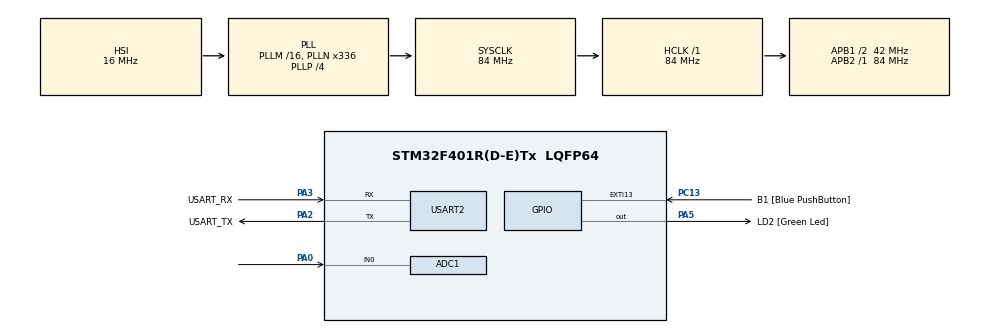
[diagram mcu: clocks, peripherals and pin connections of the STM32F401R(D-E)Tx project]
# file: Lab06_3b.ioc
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ADC1.Channel-0\#ChannelRegularConversion=ADC_CHANNEL_0
ADC1.DMAContinuousRequests=ENABLE
ADC1.ExternalTrigConv=ADC_EXTERNALTRIGCONV_T2_TRGO
ADC1.NbrOfConversionFlag=1
ADC1.Rank-0\#ChannelRegularConversion=1
ADC1.SamplingTime-0\#ChannelRegularConversion=ADC_SAMPLETIME_480CYCLES
ADC1.master=1
Dma.ADC1.1.Direction=DMA_PERIPH_TO_MEMORY
Dma.ADC1.1.FIFOMode=DMA_FIFOMODE_DISABLE
Dma.ADC1.1.Instance=DMA2_Stream0
Dma.ADC1.1.MemDataAlignment=DMA_MDATAALIGN_HALFWORD
Dma.ADC1.1.MemInc=DMA_MINC_ENABLE
Dma.ADC1.1.Mode=DMA_CIRCULAR
Dma.ADC1.1.PeriphDataAlignment=DMA_PDATAALIGN_HALFWORD
Dma.ADC1.1.PeriphInc=DMA_PINC_DISABLE
Dma.ADC1.1.Priority=DMA_PRIORITY_HIGH
Dma.Request0=USART2_TX
Dma.Request1=ADC1
Dma.USART2_TX.0.Direction=DMA_MEMORY_TO_PERIPH
Dma.USART2_TX.0.FIFOMode=DMA_FIFOMODE_DISABLE
Dma.USART2_TX.0.Instance=DMA1_Stream6
Dma.USART2_TX.0.MemDataAlignment=DMA_MDATAALIGN_BYTE
Dma.USART2_TX.0.MemInc=DMA_MINC_ENABLE
Dma.USART2_TX.0.Mode=DMA_NORMAL
Dma.USART2_TX.0.PeriphDataAlignment=DMA_PDATAALIGN_BYTE
Dma.USART2_TX.0.PeriphInc=DMA_PINC_DISABLE
Dma.USART2_TX.0.Priority=DMA_PRIORITY_HIGH
Mcu.Family=STM32F4
Mcu.Name=STM32F401R(D-E)Tx
Mcu.Package=LQFP64
NVIC.DMA1_Stream6_IRQn=true\:0\:0\:false\:false\:true\:false\:true\:true
NVIC.DMA2_Stream0_IRQn=true\:0\:0\:false\:false\:true\:false\:true\:true
NVIC.PriorityGroup=NVIC_PRIORITYGROUP_4
NVIC.USART2_IRQn=true\:0\:0\:false\:false\:true\:true\:true\:true
PA0-WKUP.Signal=ADCx_IN0
PA13.GPIO_Label=TMS
PA13.Mode=Trace_Asynchronous_SW
PA13.Signal=SYS_JTMS-SWDIO
PA14.GPIO_Label=TCK
PA14.Mode=Trace_Asynchronous_SW
PA14.Signal=SYS_JTCK-SWCLK
PA2.GPIO_Label=USART_TX
PA2.GPIO_Mode=GPIO_MODE_AF_PP
PA2.GPIO_PuPd=GPIO_NOPULL
PA2.GPIO_Speed=GPIO_SPEED_FREQ_LOW
PA2.Mode=Asynchronous
PA2.Signal=USART2_TX
PA3.GPIO_Label=USART_RX
PA3.GPIO_Mode=GPIO_MODE_AF_PP
PA3.GPIO_PuPd=GPIO_NOPULL
PA3.GPIO_Speed=GPIO_SPEED_FREQ_LOW
PA3.Mode=Asynchronous
PA3.Signal=USART2_RX
PA5.GPIO_Label=LD2 [Green Led]
PA5.GPIO_Mode=GPIO_MODE_OUTPUT_PP
PA5.GPIO_PuPd=GPIO_NOPULL
PA5.GPIO_Speed=GPIO_SPEED_FREQ_LOW
PA5.Signal=GPIO_Output
PB3.GPIO_Label=SWO
PB3.Mode=Trace_Asynchronous_SW
PB3.Signal=SYS_JTDO-SWO
PC13-ANTI_TAMP.GPIO_Label=B1 [Blue PushButton]
PC13-ANTI_TAMP.GPIO_ModeDefaultEXTI=GPIO_MODE_IT_FALLING
PC13-ANTI_TAMP.GPIO_PuPd=GPIO_NOPULL
PC13-ANTI_TAMP.Signal=GPXTI13
PC14-OSC32_IN.Mode=LSE-External-Oscillator
PC14-OSC32_IN.Signal=RCC_OSC32_IN
PC15-OSC32_OUT.Mode=LSE-External-Oscillator
PC15-OSC32_OUT.Signal=RCC_OSC32_OUT
PH0\ -\ OSC_IN.Mode=HSE-External-Clock-Source
PH0\ -\ OSC_IN.Signal=RCC_OSC_IN
PH1\ -\ OSC_OUT.Mode=HSE-External-Clock-Source
PH1\ -\ OSC_OUT.Signal=RCC_OSC_OUT
ProjectManager.HeapSize=0x200
ProjectManager.StackSize=0x400
ProjectManager.TargetToolchain=STM32CubeIDE
RCC.48MHZClocksFreq_Value=48000000
RCC.AHBFreq_Value=84000000
RCC.APB1CLKDivider=RCC_HCLK_DIV2
RCC.APB1Freq_Value=42000000
RCC.APB1TimFreq_Value=84000000
RCC.APB2Freq_Value=84000000
RCC.APB2TimFreq_Value=84000000
RCC.CortexFreq_Value=84000000
RCC.HCLKFreq_Value=84000000
RCC.HSE_VALUE=8000000
RCC.HSI_VALUE=16000000
RCC.PLLN=336
RCC.PLLP=RCC_PLLP_DIV4
RCC.PLLQ=7
RCC.SYSCLKFreq_VALUE=84000000
RCC.SYSCLKSource=RCC_SYSCLKSOURCE_PLLCLK
RCC.VCOOutputFreq_Value=336000000
SH.ADCx_IN0.0=ADC1_IN0,IN0
TIM2.Period=839999
TIM2.Prescaler=99
TIM2.TIM_MasterOutputTrigger=TIM_TRGO_UPDATE
USART2.VirtualMode=VM_ASYNC
VP_TIM2_VS_ClockSourceINT.Mode=Internal
board=NUCLEO-F401RE

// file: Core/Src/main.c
/* USER CODE BEGIN Header */
/**
  ******************************************************************************
  * @file           : main.c
  * @brief          : Main program body
  ******************************************************************************
  * @attention
  *
  * Copyright (c) 2026 STMicroelectronics.
  * All rights reserved.
  *
  * This software is licensed under terms that can be found in the LICENSE file
  * in the root directory of this software component.
  * If no LICENSE file comes with this software, it is provided AS-IS.
  *
  ******************************************************************************
  */
/* USER CODE END Header */
#include "main.h"

/* USER CODE BEGIN Includes */
#include "stdio.h"
#include "string.h"
#include <math.h>

/* USER CODE END Includes */

ADC_HandleTypeDef hadc1;
DMA_HandleTypeDef hdma_adc1;

TIM_HandleTypeDef htim2;

UART_HandleTypeDef huart2;
DMA_HandleTypeDef hdma_usart2_tx;

/* USER CODE BEGIN PV */
uint16_t adc_buf[2];   // buffer circolare: [0] pronto a meta' trasferimento, [1] a trasferimento completo
float v_adc = 0.0f;
float ldr = 0.0f;
float lux = 0.0f;
uint8_t tx_buf[64];
int len;

/* USER CODE END PV */

void SystemClock_Config(void);
static void MX_GPIO_Init(void);
static void MX_DMA_Init(void);
static void MX_USART2_UART_Init(void);
static void MX_ADC1_Init(void);
static void MX_TIM2_Init(void);

/* USER CODE BEGIN 0 */

static void process_and_send(uint16_t raw)
{
    v_adc = ((float)raw * 3.3f) / 4095.0f;
    ldr = (v_adc * 100) / (3.3f - v_adc);       // [kOhm]
    lux = 10 * pow(100 / ldr, 1.25f);            // [lux]

    len = sprintf((char*)tx_buf, "Vadc: %.2fV  LDR: %.1fkOhm  Lux: %.2flux\r\n", v_adc, ldr, lux);
    HAL_UART_Transmit_DMA(&huart2, tx_buf, len);
}

void HAL_ADC_ConvHalfCpltCallback(ADC_HandleTypeDef *hadc)
{
    process_and_send(adc_buf[0]);
}

void HAL_ADC_ConvCpltCallback(ADC_HandleTypeDef *hadc)
{
    process_and_send(adc_buf[1]);
}

/* USER CODE END 0 */

int main(void)
{

  /* MCU Configuration--------------------------------------------------------*/

  /* Reset of all peripherals, Initializes the Flash interface and the Systick. */
  HAL_Init();

  /* Configure the system clock */
  SystemClock_Config();

  /* Initialize all configured peripherals */
  MX_GPIO_Init();
  MX_DMA_Init();
  MX_USART2_UART_Init();
  MX_ADC1_Init();
  MX_TIM2_Init();
  /* USER CODE BEGIN 2 */
  HAL_TIM_Base_Start(&htim2); // Timer 2 (Trigger ADC)
  HAL_ADC_Start_DMA(&hadc1, (uint32_t*)adc_buf, 2);   // buffer da 2 elementi, niente & (l'array decade gia' da solo)

  /* USER CODE END 2 */

  /* Infinite loop */
  while (1)
  {

  }
}

void SystemClock_Config(void)
{
  RCC_OscInitTypeDef RCC_OscInitStruct = {0};
  RCC_ClkInitTypeDef RCC_ClkInitStruct = {0};

  /** Configure the main internal regulator output voltage
  */
  __HAL_RCC_PWR_CLK_ENABLE();
  __HAL_PWR_VOLTAGESCALING_CONFIG(PWR_REGULATOR_VOLTAGE_SCALE2);

  /** Initializes the RCC Oscillators according to the specified parameters
  * in the RCC_OscInitTypeDef structure.
  */
  RCC_OscInitStruct.OscillatorType = RCC_OSCILLATORTYPE_HSI;
  RCC_OscInitStruct.HSIState = RCC_HSI_ON;
  RCC_OscInitStruct.HSICalibrationValue = RCC_HSICALIBRATION_DEFAULT;
  RCC_OscInitStruct.PLL.PLLState = RCC_PLL_ON;
  RCC_OscInitStruct.PLL.PLLSource = RCC_PLLSOURCE_HSI;
  RCC_OscInitStruct.PLL.PLLM = 16;
  RCC_OscInitStruct.PLL.PLLN = 336;
  RCC_OscInitStruct.PLL.PLLP = RCC_PLLP_DIV4;
  RCC_OscInitStruct.PLL.PLLQ = 7;
  if (HAL_RCC_OscConfig(&RCC_OscInitStruct) != HAL_OK)
  {
    Error_Handler();
  }

  /** Initializes the CPU, AHB and APB buses clocks
  */
  RCC_ClkInitStruct.ClockType = RCC_CLOCKTYPE_HCLK|RCC_CLOCKTYPE_SYSCLK
                              |RCC_CLOCKTYPE_PCLK1|RCC_CLOCKTYPE_PCLK2;
  RCC_ClkInitStruct.SYSCLKSource = RCC_SYSCLKSOURCE_PLLCLK;
  RCC_ClkInitStruct.AHBCLKDivider = RCC_SYSCLK_DIV1;
  RCC_ClkInitStruct.APB1CLKDivider = RCC_HCLK_DIV2;
  RCC_ClkInitStruct.APB2CLKDivider = RCC_HCLK_DIV1;

  if (HAL_RCC_ClockConfig(&RCC_ClkInitStruct, FLASH_LATENCY_2) != HAL_OK)
  {
    Error_Handler();
  }
}

static void MX_ADC1_Init(void)
{

  ADC_ChannelConfTypeDef sConfig = {0};

  /** Configure the global features of the ADC (Clock, Resolution, Data Alignment and number of conversion)
  */
  hadc1.Instance = ADC1;
  hadc1.Init.ClockPrescaler = ADC_CLOCK_SYNC_PCLK_DIV4;
  hadc1.Init.Resolution = ADC_RESOLUTION_12B;
  hadc1.Init.ScanConvMode = DISABLE;
  hadc1.Init.ContinuousConvMode = DISABLE;
  hadc1.Init.DiscontinuousConvMode = DISABLE;
  hadc1.Init.ExternalTrigConvEdge = ADC_EXTERNALTRIGCONVEDGE_RISING;
  hadc1.Init.ExternalTrigConv = ADC_EXTERNALTRIGCONV_T2_TRGO;
  hadc1.Init.DataAlign = ADC_DATAALIGN_RIGHT;
  hadc1.Init.NbrOfConversion = 1;
  hadc1.Init.DMAContinuousRequests = ENABLE;
  hadc1.Init.EOCSelection = ADC_EOC_SINGLE_CONV;
  if (HAL_ADC_Init(&hadc1) != HAL_OK)
  {
    Error_Handler();
  }

  /** Configure for the selected ADC regular channel its corresponding rank in the sequencer and its sample time.
  */
  sConfig.Channel = ADC_CHANNEL_0;
  sConfig.Rank = 1;
  sConfig.SamplingTime = ADC_SAMPLETIME_480CYCLES;
  if (HAL_ADC_ConfigChannel(&hadc1, &sConfig) != HAL_OK)
  {
    Error_Handler();
  }

}

static void MX_TIM2_Init(void)
{

  TIM_ClockConfigTypeDef sClockSourceConfig = {0};
  TIM_MasterConfigTypeDef sMasterConfig = {0};

  htim2.Instance = TIM2;
  htim2.Init.Prescaler = 99;
  htim2.Init.CounterMode = TIM_COUNTERMODE_UP;
  htim2.Init.Period = 839999;
  htim2.Init.ClockDivision = TIM_CLOCKDIVISION_DIV1;
  htim2.Init.AutoReloadPreload = TIM_AUTORELOAD_PRELOAD_DISABLE;
  if (HAL_TIM_Base_Init(&htim2) != HAL_OK)
  {
    Error_Handler();
  }
  sClockSourceConfig.ClockSource = TIM_CLOCKSOURCE_INTERNAL;
  if (HAL_TIM_ConfigClockSource(&htim2, &sClockSourceConfig) != HAL_OK)
  {
    Error_Handler();
  }
  sMasterConfig.MasterOutputTrigger = TIM_TRGO_UPDATE;
  sMasterConfig.MasterSlaveMode = TIM_MASTERSLAVEMODE_DISABLE;
  if (HAL_TIMEx_MasterConfigSynchronization(&htim2, &sMasterConfig) != HAL_OK)
  {
    Error_Handler();
  }

}

static void MX_USART2_UART_Init(void)
{

  huart2.Instance = USART2;
  huart2.Init.BaudRate = 115200;
  huart2.Init.WordLength = UART_WORDLENGTH_8B;
  huart2.Init.StopBits = UART_STOPBITS_1;
  huart2.Init.Parity = UART_PARITY_NONE;
  huart2.Init.Mode = UART_MODE_TX_RX;
  huart2.Init.HwFlowCtl = UART_HWCONTROL_NONE;
  huart2.Init.OverSampling = UART_OVERSAMPLING_16;
  if (HAL_UART_Init(&huart2) != HAL_OK)
  {
    Error_Handler();
  }

}

static void MX_DMA_Init(void)
{

  /* DMA controller clock enable */
  __HAL_RCC_DMA1_CLK_ENABLE();
  __HAL_RCC_DMA2_CLK_ENABLE();

  /* DMA interrupt init */
  /* DMA1_Stream6_IRQn interrupt configuration */
  HAL_NVIC_SetPriority(DMA1_Stream6_IRQn, 0, 0);
  HAL_NVIC_EnableIRQ(DMA1_Stream6_IRQn);
  /* DMA2_Stream0_IRQn interrupt configuration */
  HAL_NVIC_SetPriority(DMA2_Stream0_IRQn, 0, 0);
  HAL_NVIC_EnableIRQ(DMA2_Stream0_IRQn);

}

static void MX_GPIO_Init(void)
{
  GPIO_InitTypeDef GPIO_InitStruct = {0};

  /* GPIO Ports Clock Enable */
  __HAL_RCC_GPIOC_CLK_ENABLE();
  __HAL_RCC_GPIOH_CLK_ENABLE();
  __HAL_RCC_GPIOA_CLK_ENABLE();
  __HAL_RCC_GPIOB_CLK_ENABLE();

  /*Configure GPIO pin Output Level */
  HAL_GPIO_WritePin(LD2_GPIO_Port, LD2_Pin, GPIO_PIN_RESET);

  /*Configure GPIO pin : B1_Pin */
  GPIO_InitStruct.Pin = B1_Pin;
  GPIO_InitStruct.Mode = GPIO_MODE_IT_FALLING;
  GPIO_InitStruct.Pull = GPIO_NOPULL;
  HAL_GPIO_Init(B1_GPIO_Port, &GPIO_InitStruct);

  /*Configure GPIO pin : LD2_Pin */
  GPIO_InitStruct.Pin = LD2_Pin;
  GPIO_InitStruct.Mode = GPIO_MODE_OUTPUT_PP;
  GPIO_InitStruct.Pull = GPIO_NOPULL;
  GPIO_InitStruct.Speed = GPIO_SPEED_FREQ_LOW;
  HAL_GPIO_Init(LD2_GPIO_Port, &GPIO_InitStruct);

}

void Error_Handler(void)
{
  __disable_irq();
  while (1)
  {
  }
}
